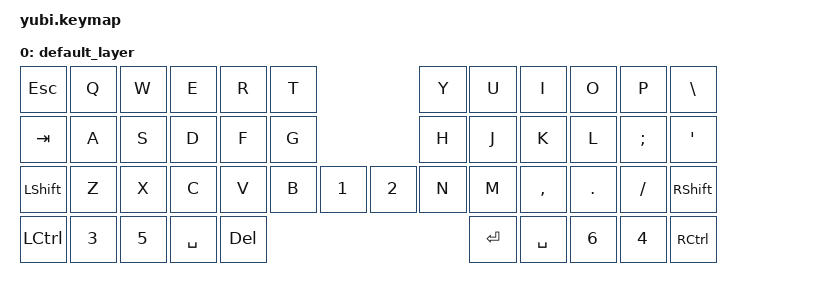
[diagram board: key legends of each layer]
#include <behaviors.dtsi>
#include <dt-bindings/zmk/keys.h>

/ {
	keymap {
		compatible = "zmk,keymap";

		default_layer {

			bindings = <
			&kp ESC		&kp Q		&kp W		&kp E		&kp R		&kp T								&kp Y		&kp U		&kp I		&kp O		&kp P		&kp BSLH
			&kp TAB		&kp A		&kp S		&kp D		&kp F		&kp G								&kp H		&kp J		&kp K		&kp L		&kp SEMI	&kp SQT
			&kp LSHIFT	&kp Z		&kp X		&kp C		&kp V		&kp B		&kp 1		&kp 2		&kp N		&kp M		&kp COMMA	&kp DOT		&kp FSLH	&kp RSHIFT
			&kp LCTRL				&kp 3					&kp 5		&kp SPACE	&kp DEL		&kp RET		&kp SPACE	&kp 6					&kp 4				&kp RCTRL
			>;
		};
	};
};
